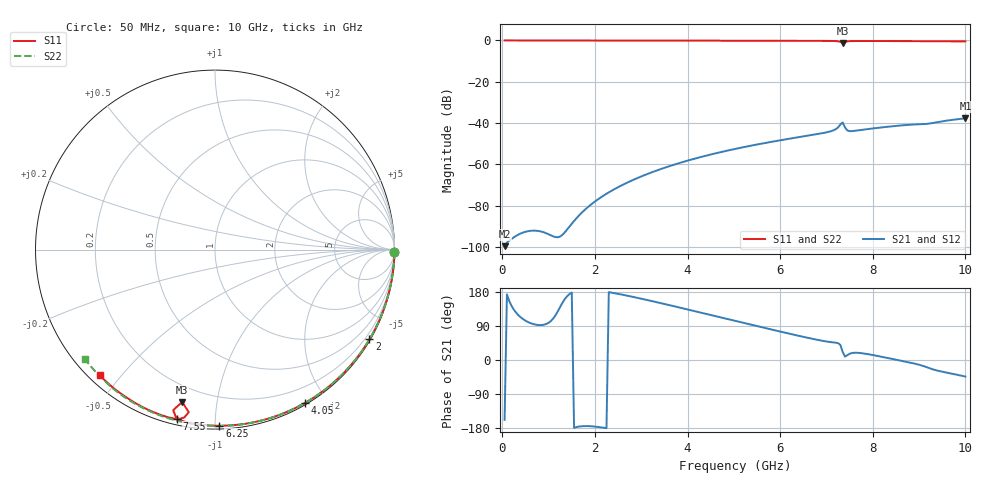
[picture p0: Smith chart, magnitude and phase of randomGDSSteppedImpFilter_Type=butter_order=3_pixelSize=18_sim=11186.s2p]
! freq	dB(S11)	phase(S11)	dB(S12)	phase(S12)
!  dB(S21)	phase(S21)	dB(S22)	phase(S22)
!S-par simulation data
#  GHz  S  DB  R 50
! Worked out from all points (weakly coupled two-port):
!   200 points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, 50 MHz to 10 GHz, reference 50 ohm
!   highest |S21| = -37.69 dB at 10 GHz (marker M1); lowest = -99.5 dB at 50 MHz (marker M2)
!   lowest |S11| = -1.2 dB at 7.35 GHz (marker M3), VSWR 14.21, Z = 5.79 - j40 ohm
!   |S11| at or under -10 dB: nowhere
!   |S22| runs from -0.5 to 0.0 dB; largest |S21 - S12| = 0
!   S11 on the Smith chart (normalised r, x): 50 MHz: open; 2 GHz: 0.03, -3.71; 4.05 GHz: 0.02, -1.75; 6.25 GHz: 0.02, -1.03; 7.55 GHz: 0.03, -0.80; 10 GHz: 0.03, -0.44
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0.05  -0.00 -0.8  -99.55 -158.0  -99.55 -158.0  -0.00 -0.8
0.9  -0.02 -13.7  -92.87 93.2  -92.87 93.2  -0.02 -14.5
1.75  -0.03 -26.5  -82.61 -174.5  -82.61 -174.5  -0.04 -28.0
1.9  -0.04 -28.7  -79.68 -174.7  -79.68 -174.7  -0.04 -30.3
2  -0.04 -30.2  -77.95 -175.7  -77.95 -175.7  -0.04 -31.9
2.25  -0.04 -33.8  -74.18 -179.9  -74.18 -179.9  -0.05 -35.8
2.65  -0.05 -39.7  -69.30 171.0  -69.30 171.0  -0.05 -41.9
3.4  -0.07 -50.4  -62.40 150.7  -62.40 150.7  -0.07 -53.2
4.05  -0.08 -59.5  -57.84 132.0  -57.84 132.0  -0.09 -62.7
5.05  -0.11 -73.0  -52.38 102.6  -52.38 102.6  -0.12 -76.9
6.25  -0.16 -88.6  -47.37 68.0  -47.37 68.0  -0.17 -93.1
6.7  -0.19 -94.4  -45.71 55.8  -45.71 55.8  -0.19 -99.0
7.15  -0.26 -100.9  -43.50 46.4  -43.50 46.4  -0.22 -104.8
7.25  -0.39 -103.2  -42.10 44.6  -42.10 44.6  -0.22 -106.0
7.3  -0.68 -104.6  -40.66 39.8  -40.66 39.8  -0.23 -106.7
7.35  -1.22 -102.2  -39.71 21.4  -39.71 21.4  -0.23 -107.3
7.4  -0.75 -99.2  -42.08 8.9  -42.08 8.9  -0.23 -107.9
7.45  -0.44 -100.4  -43.55 12.7  -43.55 12.7  -0.24 -108.6
7.55  -0.30 -102.6  -43.87 18.4  -43.87 18.4  -0.24 -109.8
8.35  -0.30 -113.3  -41.69 4.6  -41.69 4.6  -0.31 -119.8
9.15  -0.37 -122.7  -40.40 -18.4  -40.40 -18.4  -0.40 -129.7
10  -0.44 -132.5  -37.69 -43.6  -37.69 -43.6  -0.48 -139.9
